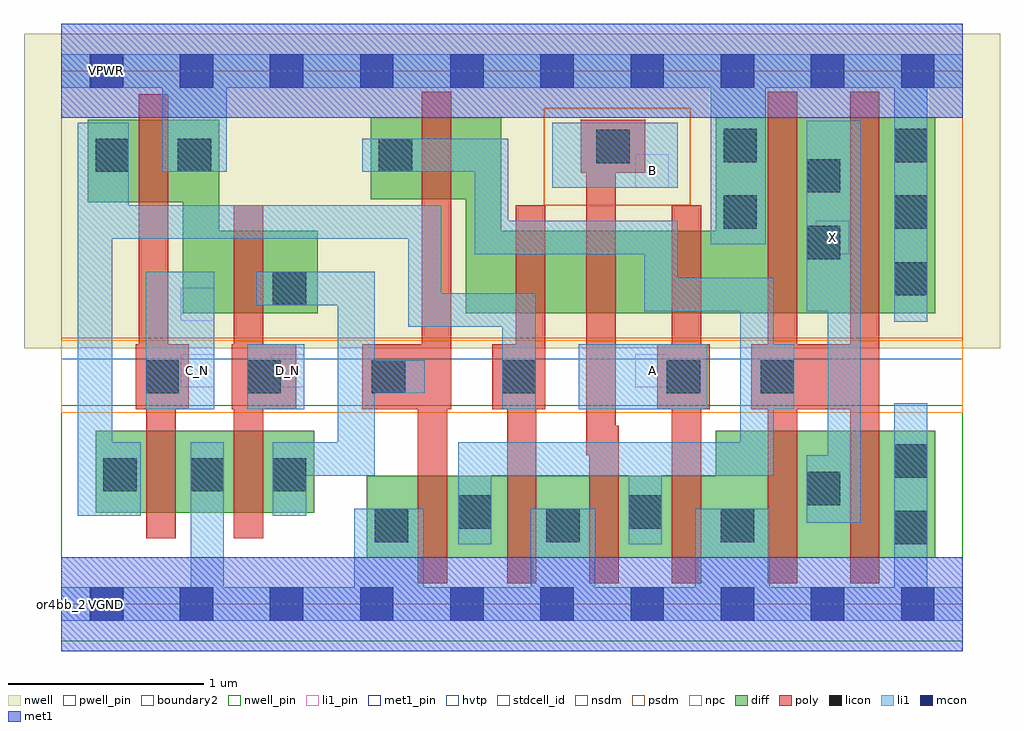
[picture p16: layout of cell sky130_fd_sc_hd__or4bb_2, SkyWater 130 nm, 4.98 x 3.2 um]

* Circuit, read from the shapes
.subckt sky130_fd_sc_hd__or4bb_2 A B C_N D_N VGND VNB VPB VPWR X
XM1 VGND C_N n1 VNB sky130_fd_pr__nfet_01v8 w=0.42 l=0.15
XM2 n2 D_N VGND VNB sky130_fd_pr__nfet_01v8 w=0.42 l=0.15
XM3 n3 n2 VGND VNB sky130_fd_pr__nfet_01v8 w=0.42 l=0.15
XM4 VGND n1 n3 VNB sky130_fd_pr__nfet_01v8 w=0.42 l=0.15
XM5 n3 B VGND VNB sky130_fd_pr__nfet_01v8 w=0.42 l=0.15
XM6 VGND A n3 VNB sky130_fd_pr__nfet_01v8 w=0.42 l=0.15
XM7 X n3 VGND VNB sky130_fd_pr__nfet_01v8 w=0.65 l=0.15 m=2
XM8 VPWR C_N n1 VPB sky130_fd_pr__pfet_01v8_hvt w=0.42 l=0.15
XM9 n2 D_N VPWR VPB sky130_fd_pr__pfet_01v8_hvt w=0.42 l=0.15
XM10 n4 n2 n3 VPB sky130_fd_pr__pfet_01v8_hvt w=0.42 l=0.15
XM11 n5 n1 n4 VPB sky130_fd_pr__pfet_01v8_hvt w=0.42 l=0.15
XM12 n6 B n5 VPB sky130_fd_pr__pfet_01v8_hvt w=0.42 l=0.15
XM13 VPWR A n6 VPB sky130_fd_pr__pfet_01v8_hvt w=0.42 l=0.15
XM14 X n3 VPWR VPB sky130_fd_pr__pfet_01v8_hvt w=1 l=0.15 m=2
.ends

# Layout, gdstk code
import gdstk
lib = gdstk.Library(unit=1e-6, precision=1e-09)
def R(c, l, rs):  # rectangles x0, y0, x1, y1
    for r in rs: c.add(gdstk.rectangle(r[:2], r[2:], *l))
def A(c, l, x, y, w, h, nx, ny, dx, dy):  # array of equal rectangles
    R(c, l, [(x+i*dx, y+j*dy, x+i*dx+w, y+j*dy+h) for i in range(nx) for j in range(ny)])
def P(c, l, *ps):  # polygons
    for p in ps: c.add(gdstk.Polygon(p, *l))
nwell_pin = (64, 16)
nwell = (64, 20)
diff = (65, 20)
poly = (66, 20)
licon = (66, 44)
li1_pin = (67, 16)
li1 = (67, 20)
mcon = (67, 44)
met1_pin = (68, 16)
met1 = (68, 20)
hvtp = (78, 44)
stdcell_id = (81, 4)
nsdm = (93, 44)
psdm = (94, 20)
npc = (95, 20)
pwell_pin = (122, 16)
boundary2 = (236, 0)

sky130_fd_sc_hd__or4bb_2 = lib.new_cell('sky130_fd_sc_hd__or4bb_2')
R(sky130_fd_sc_hd__or4bb_2, nwell_pin, [(0.15,2.635,0.32,2.805)])
R(sky130_fd_sc_hd__or4bb_2, nwell, [(-0.19,1.305,4.79,2.91)])
R(sky130_fd_sc_hd__or4bb_2, diff, [(0.175,0.465,1.29,0.885)])
P(sky130_fd_sc_hd__or4bb_2, diff, [(1.31,1.905),(0.805,1.905),(0.805,2.47),(0.135,2.47),(0.135,2.05),(0.62,2.05),(0.62,1.485),(1.31,1.485)],
  [(4.46,2.485),(3.34,2.485),(3.34,1.905),(2.245,1.905),(2.245,2.485),(1.58,2.485),(1.58,2.065),(2.065,2.065),(2.065,1.485),(4.46,1.485)],
  [(4.46,0.885),(3.34,0.885),(3.34,0.655),(1.56,0.655),(1.56,0.235),(4.46,0.235)])
P(sky130_fd_sc_hd__or4bb_2, poly, [(0.65,1.325),(0.545,1.325),(0.545,2.6),(0.395,2.6),(0.395,1.325),(0.38,1.325),(0.38,0.995),(0.435,0.995),(0.435,0.335),(0.585,0.335),(0.585,0.995),(0.65,0.995)],
  [(1.2,1.325),(1.03,1.325),(1.03,2.035),(0.88,2.035),(0.88,1.325),(0.87,1.325),(0.87,0.995),(0.88,0.995),(0.88,0.335),(1.03,0.335),(1.03,0.995),(1.2,0.995)],
  [(1.99,2.615),(1.84,2.615),(1.84,1.325),(1.535,1.325),(1.535,0.995),(1.82,0.995),(1.82,0.105),(1.97,0.105),(1.97,0.995),(1.99,0.995)],
  [(2.47,2.035),(2.32,2.035),(2.32,1.325),(2.2,1.325),(2.2,0.995),(2.275,0.995),(2.275,0.105),(2.425,0.105),(2.425,0.995),(2.47,0.995)],
  [(2.98,2.47),(2.65,2.47),(2.65,2.2),(2.68,2.2),(2.68,0.76),(2.695,0.76),(2.695,0.105),(2.845,0.105),(2.845,0.91),(2.83,0.91),(2.83,2.2),(2.98,2.2)],
  [(3.31,1.325),(3.265,1.325),(3.265,2.035),(3.115,2.035),(3.115,1.325),(3.04,1.325),(3.04,0.995),(3.115,0.995),(3.115,0.105),(3.265,0.105),(3.265,0.995),(3.31,0.995)],
  [(4.175,2.615),(4.025,2.615),(4.025,1.325),(3.755,1.325),(3.755,2.615),(3.605,2.615),(3.605,1.325),(3.52,1.325),(3.52,0.995),(3.605,0.995),(3.605,0.105),(3.755,0.105),(3.755,0.995),(4.025,0.995),(4.025,0.105),(4.175,0.105)])
A(sky130_fd_sc_hd__or4bb_2, licon, 4.25, 1.575, 0.17, 0.17, 1, 3, 0, 0.34)
R(sky130_fd_sc_hd__or4bb_2, licon, [(4.25,0.305,4.42,0.475), (1.6,0.315,1.77,0.485), (2.475,0.315,2.645,0.485), (3.365,0.315,3.535,0.485), (2.025,0.385,2.195,0.555), (2.895,0.385,3.065,0.555), (3.805,0.505,3.975,0.675), (0.215,0.575,0.385,0.745), (0.66,0.575,0.83,0.745), (1.08,0.575,1.25,0.745), (4.25,0.645,4.42,0.815), (0.43,1.075,0.6,1.245), (0.95,1.075,1.12,1.245), (1.585,1.075,1.755,1.245), (2.25,1.075,2.42,1.245), (3.09,1.075,3.26,1.245), (3.57,1.075,3.74,1.245), (1.08,1.525,1.25,1.695), (3.805,1.76,3.975,1.93), (3.38,1.915,3.55,2.085), (3.805,2.1,3.975,2.27), (0.175,2.205,0.345,2.375), (0.595,2.205,0.765,2.375), (1.62,2.205,1.79,2.375), (2.73,2.25,2.9,2.42), (3.38,2.255,3.55,2.425)])
R(sky130_fd_sc_hd__or4bb_2, li1_pin, [(0.61,1.105,0.78,1.275), (1.07,1.105,1.24,1.275), (2.93,1.105,3.1,1.275), (0.61,1.445,0.78,1.615), (3.85,1.785,4.02,1.955), (2.93,2.125,3.1,2.295)])
R(sky130_fd_sc_hd__or4bb_2, li1, [(0.43,0.995,0.78,1.695), (0.95,0.995,1.24,1.325), (2.64,0.995,3.295,1.325), (2.505,2.125,3.145,2.455)])
P(sky130_fd_sc_hd__or4bb_2, li1, [(4.6,0.085),(4.42,0.085),(4.42,1.025),(4.25,1.025),(4.25,0.085),(3.615,0.085),(3.615,0.485),(3.235,0.485),(3.235,0.085),(2.725,0.085),(2.725,0.485),(2.395,0.485),(2.395,0.085),(1.85,0.085),(1.85,0.485),(1.495,0.485),(1.495,0.085),(0.83,0.085),(0.83,0.825),(0.66,0.825),(0.66,0.085),(0,0.085),(0,-0.085),(4.6,-0.085)],
  [(4.6,2.805),(0,2.805),(0,2.635),(0.515,2.635),(0.515,2.205),(0.845,2.205),(0.845,2.635),(3.315,2.635),(3.315,1.835),(3.595,1.835),(3.595,2.635),(4.25,2.635),(4.25,1.44),(4.42,1.44),(4.42,2.635),(4.6,2.635)],
  [(1.855,1.245),(1.6,1.245),(1.6,1.695),(0.995,1.695),(0.995,1.525),(1.41,1.525),(1.41,0.825),(1.08,0.825),(1.08,0.45),(1.25,0.45),(1.25,0.655),(1.6,0.655),(1.6,1.075),(1.855,1.075)],
  [(2.42,1.585),(1.94,1.585),(1.94,2.035),(0.345,2.035),(0.345,2.455),(0.085,2.455),(0.085,0.45),(0.405,0.45),(0.405,0.825),(0.26,0.825),(0.26,1.865),(1.77,1.865),(1.77,1.415),(2.25,1.415),(2.25,0.995),(2.42,0.995)],
  [(3.74,1.325),(3.635,1.325),(3.635,1.665),(3.145,1.665),(3.145,1.955),(2.28,1.955),(2.28,2.375),(1.535,2.375),(1.535,2.205),(2.11,2.205),(2.11,1.785),(2.975,1.785),(2.975,1.495),(3.465,1.495),(3.465,0.825),(2.025,0.825),(2.025,0.305),(2.195,0.305),(2.195,0.655),(2.895,0.655),(2.895,0.305),(3.065,0.305),(3.065,0.655),(3.635,0.655),(3.635,0.995),(3.74,0.995)],
  [(4.08,2.465),(3.805,2.465),(3.805,1.495),(3.91,1.495),(3.91,0.76),(3.805,0.76),(3.805,0.415),(4.08,0.415)])
A(sky130_fd_sc_hd__or4bb_2, mcon, 0.145, -0.085, 0.17, 0.17, 10, 2, 0.46, 2.72)
R(sky130_fd_sc_hd__or4bb_2, met1_pin, [(0.15,-0.085,0.32,0.085), (0.15,2.635,0.32,2.805)])
R(sky130_fd_sc_hd__or4bb_2, hvtp, [(0,1.25,4.6,2.72)])
R(sky130_fd_sc_hd__or4bb_2, stdcell_id, [(0,0,4.6,2.72)])
R(sky130_fd_sc_hd__or4bb_2, nsdm, [(0,-0.19,4.6,1.015)])
P(sky130_fd_sc_hd__or4bb_2, psdm, [(4.6,2.91),(3.21,2.91),(3.21,2.035),(2.465,2.035),(2.465,2.53),(3.21,2.53),(3.21,2.91),(0,2.91),(0,1.355),(4.6,1.355)])
R(sky130_fd_sc_hd__or4bb_2, npc, [(0,0.975,4.6,1.345), (2.465,2.035,3.21,2.53)])
R(sky130_fd_sc_hd__or4bb_2, pwell_pin, [(0.15,-0.085,0.32,0.085)])
R(sky130_fd_sc_hd__or4bb_2, boundary2, [(0,0,4.6,2.72)])
sky130_fd_sc_hd__or4bb_2.add(gdstk.FlexPath([(0,2.72),(4.6,2.72)], 0.48, ends="flush", simple_path=True, layer=68, datatype=20))  # met1
sky130_fd_sc_hd__or4bb_2.add(gdstk.FlexPath([(0,0),(4.6,0)], 0.48, ends="flush", simple_path=True, layer=68, datatype=20))  # met1
sky130_fd_sc_hd__or4bb_2.add(gdstk.Label('A', (3.015,1.19), layer=67, texttype=5))
sky130_fd_sc_hd__or4bb_2.add(gdstk.Label('X', (3.935,1.87), layer=67, texttype=5))
sky130_fd_sc_hd__or4bb_2.add(gdstk.Label('B', (3.015,2.21), layer=67, texttype=5))
sky130_fd_sc_hd__or4bb_2.add(gdstk.Label('D_N', (1.155,1.19), layer=67, texttype=5))
sky130_fd_sc_hd__or4bb_2.add(gdstk.Label('C_N', (0.695,1.19), layer=67, texttype=5))
sky130_fd_sc_hd__or4bb_2.add(gdstk.Label('VPWR', (0.23,2.72), layer=68, texttype=5))
sky130_fd_sc_hd__or4bb_2.add(gdstk.Label('VGND', (0.23,0), layer=68, texttype=5))
sky130_fd_sc_hd__or4bb_2.add(gdstk.Label('VPB', (0.235,2.72), layer=64, texttype=5))
sky130_fd_sc_hd__or4bb_2.add(gdstk.Label('VNB', (0.235,0), layer=64, texttype=59))
sky130_fd_sc_hd__or4bb_2.add(gdstk.Label('or4bb_2', (0,0), layer=83, texttype=44))

lib.write_gds('sky130_fd_sc_hd__or4bb_2.gds')
